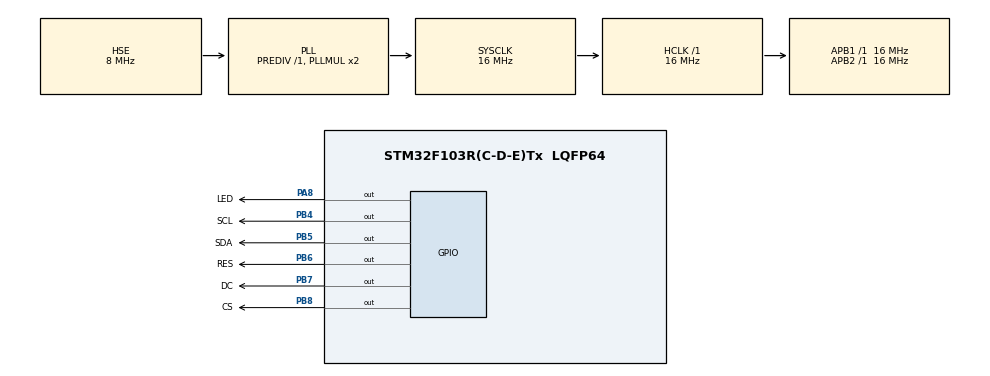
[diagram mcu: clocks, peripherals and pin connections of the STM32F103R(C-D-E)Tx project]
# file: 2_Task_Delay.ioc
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FREERTOS.INCLUDE_vTaskDelayUntil=1
FREERTOS.Tasks01=defaultTask,0,128,StartDefaultTask,Default,NULL,Dynamic,NULL,NULL
Mcu.Family=STM32F1
Mcu.Name=STM32F103R(C-D-E)Tx
Mcu.Package=LQFP64
NVIC.PriorityGroup=NVIC_PRIORITYGROUP_4
NVIC.TIM8_UP_IRQn=true\:15\:0\:false\:false\:true\:false\:false\:true\:true
NVIC.TimeBase=TIM8_UP_IRQn
NVIC.TimeBaseIP=TIM8
PA13.Mode=Serial_Wire
PA13.Signal=SYS_JTMS-SWDIO
PA14.Mode=Serial_Wire
PA14.Signal=SYS_JTCK-SWCLK
PA8.GPIO_Label=LED
PA8.Signal=GPIO_Output
PB4.GPIO_Label=SCL
PB4.GPIO_Speed=GPIO_SPEED_FREQ_HIGH
PB4.Signal=GPIO_Output
PB5.GPIO_Label=SDA
PB5.GPIO_Speed=GPIO_SPEED_FREQ_HIGH
PB5.Signal=GPIO_Output
PB6.GPIO_Label=RES
PB6.GPIO_Speed=GPIO_SPEED_FREQ_HIGH
PB6.Signal=GPIO_Output
PB7.GPIO_Label=DC
PB7.GPIO_Speed=GPIO_SPEED_FREQ_HIGH
PB7.Signal=GPIO_Output
PB8.GPIO_Label=CS
PB8.GPIO_Speed=GPIO_SPEED_FREQ_HIGH
PB8.Signal=GPIO_Output
PD0-OSC_IN.Mode=HSE-External-Oscillator
PD0-OSC_IN.Signal=RCC_OSC_IN
PD1-OSC_OUT.Mode=HSE-External-Oscillator
PD1-OSC_OUT.Signal=RCC_OSC_OUT
ProjectManager.HeapSize=0x200
ProjectManager.StackSize=0x400
ProjectManager.TargetToolchain=Makefile
RCC.AHBFreq_Value=16000000
RCC.APB1Freq_Value=16000000
RCC.APB1TimFreq_Value=16000000
RCC.APB2Freq_Value=16000000
RCC.APB2TimFreq_Value=16000000
RCC.HCLKFreq_Value=16000000
RCC.PLLSourceVirtual=RCC_PLLSOURCE_HSE
RCC.SYSCLKFreq_VALUE=16000000
RCC.SYSCLKSource=RCC_SYSCLKSOURCE_PLLCLK
RCC.USBFreq_Value=16000000
VP_FREERTOS_VS_CMSIS_V1.Mode=CMSIS_V1
VP_SYS_VS_tim8.Mode=TIM8
board=custom

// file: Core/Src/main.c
/* USER CODE BEGIN Header */
/**
  ******************************************************************************
  * @file           : main.c
  * @brief          : Main program body
  ******************************************************************************
  * @attention
  *
  * Copyright (c) 2023 STMicroelectronics.
  * All rights reserved.
  *
  * This software is licensed under terms that can be found in the LICENSE file
  * in the root directory of this software component.
  * If no LICENSE file comes with this software, it is provided AS-IS.
  *
  ******************************************************************************
  */
/* USER CODE END Header */
#include "main.h"
#include "cmsis_os.h"
#include "gpio.h"

/* USER CODE BEGIN Includes */
#include "oled.h"
/* USER CODE END Includes */

void SystemClock_Config(void);
void MX_FREERTOS_Init(void);

int main(void)
{

  /* MCU Configuration--------------------------------------------------------*/

  /* Reset of all peripherals, Initializes the Flash interface and the Systick. */
  HAL_Init();

  /* Configure the system clock */
  SystemClock_Config();

  /* Initialize all configured peripherals */
  MX_GPIO_Init();
  /* USER CODE BEGIN 2 */
  OLED_Init();
  /* USER CODE END 2 */

  /* Call init function for freertos objects (in freertos.c) */
  MX_FREERTOS_Init();

  /* Start scheduler */
  osKernelStart();

  /* We should never get here as control is now taken by the scheduler */
  /* Infinite loop */
  while (1)
  {

  }
}

void SystemClock_Config(void)
{
  RCC_OscInitTypeDef RCC_OscInitStruct = {0};
  RCC_ClkInitTypeDef RCC_ClkInitStruct = {0};

  /** Initializes the RCC Oscillators according to the specified parameters
  * in the RCC_OscInitTypeDef structure.
  */
  RCC_OscInitStruct.OscillatorType = RCC_OSCILLATORTYPE_HSE;
  RCC_OscInitStruct.HSEState = RCC_HSE_ON;
  RCC_OscInitStruct.HSEPredivValue = RCC_HSE_PREDIV_DIV1;
  RCC_OscInitStruct.HSIState = RCC_HSI_ON;
  RCC_OscInitStruct.PLL.PLLState = RCC_PLL_ON;
  RCC_OscInitStruct.PLL.PLLSource = RCC_PLLSOURCE_HSE;
  RCC_OscInitStruct.PLL.PLLMUL = RCC_PLL_MUL2;
  if (HAL_RCC_OscConfig(&RCC_OscInitStruct) != HAL_OK)
  {
    Error_Handler();
  }

  /** Initializes the CPU, AHB and APB buses clocks
  */
  RCC_ClkInitStruct.ClockType = RCC_CLOCKTYPE_HCLK|RCC_CLOCKTYPE_SYSCLK
                              |RCC_CLOCKTYPE_PCLK1|RCC_CLOCKTYPE_PCLK2;
  RCC_ClkInitStruct.SYSCLKSource = RCC_SYSCLKSOURCE_PLLCLK;
  RCC_ClkInitStruct.AHBCLKDivider = RCC_SYSCLK_DIV1;
  RCC_ClkInitStruct.APB1CLKDivider = RCC_HCLK_DIV1;
  RCC_ClkInitStruct.APB2CLKDivider = RCC_HCLK_DIV1;

  if (HAL_RCC_ClockConfig(&RCC_ClkInitStruct, FLASH_LATENCY_0) != HAL_OK)
  {
    Error_Handler();
  }
}

void HAL_TIM_PeriodElapsedCallback(TIM_HandleTypeDef *htim)
{
  if (htim->Instance == TIM8) {
    HAL_IncTick();
  }
}

void Error_Handler(void)
{
  __disable_irq();
  while (1)
  {
  }
}

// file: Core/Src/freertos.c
/* USER CODE BEGIN Header */
/**
  ******************************************************************************
  * File Name          : freertos.c
  * Description        : Code for freertos applications
  ******************************************************************************
  * @attention
  *
  * Copyright (c) 2023 STMicroelectronics.
  * All rights reserved.
  *
  * This software is licensed under terms that can be found in the LICENSE file
  * in the root directory of this software component.
  * If no LICENSE file comes with this software, it is provided AS-IS.
  *
  ******************************************************************************
  */
/* USER CODE END Header */

#include "FreeRTOS.h"
#include "task.h"
#include "main.h"
#include "cmsis_os.h"

/* USER CODE BEGIN Includes */
#include "oled.h"
/* USER CODE END Includes */

/* USER CODE BEGIN Variables */
osThreadId OLED_Task_Handle;
osThreadId LED_Task_Handle;
/* USER CODE END Variables */
osThreadId defaultTaskHandle;

/* USER CODE BEGIN FunctionPrototypes */
void OLED_Task(void const * argument);
void LED_Task(void const * argument);
/* USER CODE END FunctionPrototypes */

void StartDefaultTask(void const * argument);

void MX_FREERTOS_Init(void); /* (MISRA C 2004 rule 8.1) */

/* GetIdleTaskMemory prototype (linked to static allocation support) */
void vApplicationGetIdleTaskMemory( StaticTask_t **ppxIdleTaskTCBBuffer, StackType_t **ppxIdleTaskStackBuffer, uint32_t *pulIdleTaskStackSize );

/* USER CODE BEGIN GET_IDLE_TASK_MEMORY */
static StaticTask_t xIdleTaskTCBBuffer;
static StackType_t xIdleStack[configMINIMAL_STACK_SIZE];

void vApplicationGetIdleTaskMemory( StaticTask_t **ppxIdleTaskTCBBuffer, StackType_t **ppxIdleTaskStackBuffer, uint32_t *pulIdleTaskStackSize )
{
  *ppxIdleTaskTCBBuffer = &xIdleTaskTCBBuffer;
  *ppxIdleTaskStackBuffer = &xIdleStack[0];
  *pulIdleTaskStackSize = configMINIMAL_STACK_SIZE;
  /* place for user code */
}
/* USER CODE END GET_IDLE_TASK_MEMORY */

void MX_FREERTOS_Init(void) {

  /* Create the thread(s) */
  /* definition and creation of defaultTask */
  osThreadDef(defaultTask, StartDefaultTask, osPriorityNormal, 0, 128);
  defaultTaskHandle = osThreadCreate(osThread(defaultTask), NULL);

  /* USER CODE BEGIN RTOS_THREADS */
  /* add threads, ... */
  osThreadDef(oledtask,OLED_Task,osPriorityNormal,0,128);
  OLED_Task_Handle = osThreadCreate(osThread(oledtask),NULL);
  osThreadDef(ledtask,LED_Task,osPriorityNormal,0,128);
  OLED_Task_Handle = osThreadCreate(osThread(ledtask),NULL);
  /* USER CODE END RTOS_THREADS */

}

void StartDefaultTask(void const * argument)
{
  for(;;)
  {
    osDelay(1);
  }
}

/* USER CODE BEGIN Application */
void OLED_Task(void const * argument)
{
    for(;;)
    {
      OLED_ShowString(0,0,(char*)("Hello World"),6,0);
      osDelay(1);
    }
}

void LED_Task(void const * argument)
{
  static portTickType xlastwaketime;
  /* 使用 pdMS_TO_TICK 宏转换为系统tick */
  const portTickType xfrequent = pdMS_TO_TICKS(1000);
  /* 获取当前系统时间 */
  xlastwaketime = osKernelSysTick();
  for(;;)
  {
    osDelayUntil(&xlastwaketime,xfrequent);
    HAL_GPIO_TogglePin(GPIOA,GPIO_PIN_8);
  }
}
/* USER CODE END Application */
